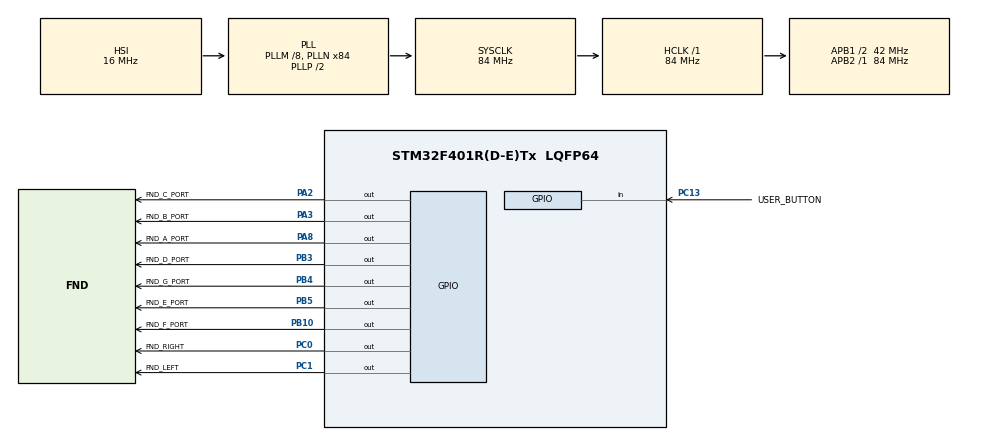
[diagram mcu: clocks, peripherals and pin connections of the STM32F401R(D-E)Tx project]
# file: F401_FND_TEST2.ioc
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Mcu.Family=STM32F4
Mcu.Name=STM32F401R(D-E)Tx
Mcu.Package=LQFP64
NVIC.PriorityGroup=NVIC_PRIORITYGROUP_4
PA13.Mode=Serial_Wire
PA13.Signal=SYS_JTMS-SWDIO
PA14.Mode=Serial_Wire
PA14.Signal=SYS_JTCK-SWCLK
PA2.GPIO_Label=FND_C_PORT
PA2.PinState=GPIO_PIN_SET
PA2.Signal=GPIO_Output
PA3.GPIO_Label=FND_B_PORT
PA3.PinState=GPIO_PIN_SET
PA3.Signal=GPIO_Output
PA8.GPIO_Label=FND_A_PORT
PA8.PinState=GPIO_PIN_SET
PA8.Signal=GPIO_Output
PB10.GPIO_Label=FND_F_PORT
PB10.PinState=GPIO_PIN_SET
PB10.Signal=GPIO_Output
PB3.GPIO_Label=FND_D_PORT
PB3.PinState=GPIO_PIN_SET
PB3.Signal=GPIO_Output
PB4.GPIO_Label=FND_G_PORT
PB4.PinState=GPIO_PIN_SET
PB4.Signal=GPIO_Output
PB5.GPIO_Label=FND_E_PORT
PB5.PinState=GPIO_PIN_SET
PB5.Signal=GPIO_Output
PC0.GPIO_Label=FND_RIGHT
PC0.Signal=GPIO_Output
PC1.GPIO_Label=FND_LEFT
PC1.Signal=GPIO_Output
PC13-ANTI_TAMP.GPIO_Label=USER_BUTTON
PC13-ANTI_TAMP.Signal=GPIO_Input
ProjectManager.HeapSize=0x200
ProjectManager.StackSize=0x400
ProjectManager.TargetToolchain=STM32CubeIDE
RCC.48MHZClocksFreq_Value=42000000
RCC.AHBFreq_Value=84000000
RCC.APB1CLKDivider=RCC_HCLK_DIV2
RCC.APB1Freq_Value=42000000
RCC.APB1TimFreq_Value=84000000
RCC.APB2Freq_Value=84000000
RCC.APB2TimFreq_Value=84000000
RCC.CortexFreq_Value=84000000
RCC.HCLKFreq_Value=84000000
RCC.HSE_VALUE=25000000
RCC.HSI_VALUE=16000000
RCC.LSE_VALUE=32768
RCC.PLLM=8
RCC.PLLN=84
RCC.SYSCLKFreq_VALUE=84000000
RCC.SYSCLKSource=RCC_SYSCLKSOURCE_PLLCLK
RCC.VCOOutputFreq_Value=168000000
board=custom

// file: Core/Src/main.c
/* USER CODE BEGIN Header */
/**
  ******************************************************************************
  * @file           : main.c
  * @brief          : Main program body
  ******************************************************************************
  * @attention
  *
  * <h2><center>&copy; Copyright (c) 2021 STMicroelectronics.
  * All rights reserved.</center></h2>
  *
  * This software component is licensed by ST under BSD 3-Clause license,
  * the "License"; You may not use this file except in compliance with the
  * License. You may obtain a copy of the License at:
  *                        opensource.org/licenses/BSD-3-Clause
  *
  ******************************************************************************
  */
/* USER CODE END Header */
#include "main.h"

void SystemClock_Config(void);
static void MX_GPIO_Init(void);

#define	FND_COM_RIGHT_CLEAR		HAL_GPIO_WritePin(GPIOC, FND_RIGHT_Pin, GPIO_PIN_RESET); \
								HAL_GPIO_WritePin(GPIOC, FND_LEFT_Pin, GPIO_PIN_SET);

#define	FND_COM_LEFT_CLEAR		HAL_GPIO_WritePin(GPIOC, FND_LEFT_Pin, GPIO_PIN_RESET); \
								HAL_GPIO_WritePin(GPIOC, FND_RIGHT_Pin, GPIO_PIN_SET);

#define FND_SEG_NUM0_DISP	  HAL_GPIO_WritePin(GPIOA, FND_C_PORT_Pin|FND_B_PORT_Pin|FND_A_PORT_Pin, GPIO_PIN_RESET); \
						      HAL_GPIO_WritePin(GPIOB, FND_F_PORT_Pin|FND_D_PORT_Pin|FND_E_PORT_Pin, GPIO_PIN_RESET); \
							  HAL_GPIO_WritePin(GPIOB, FND_G_PORT_Pin, GPIO_PIN_SET);

#define FND_SEG_NUM1_DISP	  HAL_GPIO_WritePin(GPIOA, FND_B_PORT_Pin|FND_C_PORT_Pin, GPIO_PIN_RESET); \
							  HAL_GPIO_WritePin(GPIOA, FND_A_PORT_Pin, GPIO_PIN_SET); \
							  HAL_GPIO_WritePin(GPIOB, FND_F_PORT_Pin|FND_D_PORT_Pin|FND_G_PORT_Pin|FND_E_PORT_Pin, GPIO_PIN_SET);

#define FND_SEG_NUM2_DISP	  HAL_GPIO_WritePin(GPIOA, FND_B_PORT_Pin|FND_A_PORT_Pin, GPIO_PIN_RESET); \
						      HAL_GPIO_WritePin(GPIOB, FND_D_PORT_Pin|FND_G_PORT_Pin|FND_E_PORT_Pin, GPIO_PIN_RESET); \
						      HAL_GPIO_WritePin(GPIOA, FND_C_PORT_Pin, GPIO_PIN_SET); \
						      HAL_GPIO_WritePin(GPIOB, FND_F_PORT_Pin, GPIO_PIN_SET);

#define FND_SEG_NUM3_DISP	  HAL_GPIO_WritePin(GPIOA, FND_C_PORT_Pin|FND_B_PORT_Pin|FND_A_PORT_Pin, GPIO_PIN_RESET); \
						      HAL_GPIO_WritePin(GPIOB, FND_D_PORT_Pin|FND_G_PORT_Pin, GPIO_PIN_RESET); \
						      HAL_GPIO_WritePin(GPIOB, FND_F_PORT_Pin|FND_E_PORT_Pin, GPIO_PIN_SET);

#define FND_SEG_NUM4_DISP	  HAL_GPIO_WritePin(GPIOA, FND_C_PORT_Pin|FND_B_PORT_Pin, GPIO_PIN_RESET); \
						      HAL_GPIO_WritePin(GPIOB, FND_F_PORT_Pin|FND_G_PORT_Pin, GPIO_PIN_RESET); \
						      HAL_GPIO_WritePin(GPIOA, FND_A_PORT_Pin, GPIO_PIN_SET); \
						      HAL_GPIO_WritePin(GPIOB, FND_E_PORT_Pin|FND_D_PORT_Pin, GPIO_PIN_SET);

#define FND_SEG_NUM5_DISP	  HAL_GPIO_WritePin(GPIOA, FND_C_PORT_Pin|FND_A_PORT_Pin, GPIO_PIN_RESET); \
						      HAL_GPIO_WritePin(GPIOB, FND_F_PORT_Pin|FND_D_PORT_Pin|FND_G_PORT_Pin, GPIO_PIN_RESET); \
						      HAL_GPIO_WritePin(GPIOB, FND_E_PORT_Pin, GPIO_PIN_SET); \
						      HAL_GPIO_WritePin(GPIOA, FND_B_PORT_Pin, GPIO_PIN_SET);

#define FND_SEG_NUM6_DISP	  HAL_GPIO_WritePin(GPIOA, FND_C_PORT_Pin|FND_A_PORT_Pin, GPIO_PIN_RESET); \
						      HAL_GPIO_WritePin(GPIOB, FND_F_PORT_Pin|FND_D_PORT_Pin|FND_G_PORT_Pin|FND_E_PORT_Pin, GPIO_PIN_RESET); \
						      HAL_GPIO_WritePin(GPIOA, FND_B_PORT_Pin, GPIO_PIN_SET);

#define FND_SEG_NUM7_DISP	  HAL_GPIO_WritePin(GPIOA, FND_C_PORT_Pin|FND_B_PORT_Pin|FND_A_PORT_Pin, GPIO_PIN_RESET); \
						      HAL_GPIO_WritePin(GPIOB, FND_F_PORT_Pin, GPIO_PIN_RESET); \
						      HAL_GPIO_WritePin(GPIOB, FND_D_PORT_Pin|FND_G_PORT_Pin|FND_E_PORT_Pin, GPIO_PIN_SET); \

#define FND_SEG_NUM8_DISP	  HAL_GPIO_WritePin(GPIOA, FND_C_PORT_Pin|FND_B_PORT_Pin|FND_A_PORT_Pin, GPIO_PIN_RESET); \
						      HAL_GPIO_WritePin(GPIOB, FND_F_PORT_Pin|FND_D_PORT_Pin|FND_G_PORT_Pin|FND_E_PORT_Pin, GPIO_PIN_RESET);

#define FND_SEG_NUM9_DISP	  HAL_GPIO_WritePin(GPIOA, FND_C_PORT_Pin|FND_B_PORT_Pin|FND_A_PORT_Pin, GPIO_PIN_RESET); \
						      HAL_GPIO_WritePin(GPIOB, FND_F_PORT_Pin|FND_G_PORT_Pin|FND_D_PORT_Pin, GPIO_PIN_RESET); \
						      HAL_GPIO_WritePin(GPIOB, FND_E_PORT_Pin, GPIO_PIN_SET);
/* USER CODE END 0 */

int main(void)
{
  /* USER CODE BEGIN 1 */
 unsigned char disp10 = 0;
unsigned char disp1 = 0;
unsigned char button_count = 0;
unsigned char LEFT_FND = 0;
unsigned char RIGHT_FND = 0;
unsigned char roop = 0;

  /* USER CODE END 1 */

  /* MCU Configuration--------------------------------------------------------*/

  /* Reset of all peripherals, Initializes the Flash interface and the Systick. */
  HAL_Init();

  /* Configure the system clock */
  SystemClock_Config();

  /* Initialize all configured peripherals */
  MX_GPIO_Init();

  /* Infinite loop */
  while (1)
  {

    /* USER CODE BEGIN 3 */
		  if(HAL_GPIO_ReadPin(GPIOC, GPIO_PIN_13)==0)
		  {
				  button_count++;
				  HAL_Delay(1);

				  if(button_count == 40)
				  {
					  LEFT_FND++;
					  disp10 = LEFT_FND % 10;

					  button_count = 0;
				  }
		  }

		  else if(HAL_GPIO_ReadPin(GPIOC, GPIO_PIN_13)==1)
		  {
			  if(button_count > 0 && button_count <= 3)
			  {
				  HAL_Delay(2);
				  RIGHT_FND++;
				  disp1 = RIGHT_FND % 10;
			  }

			  {
				  if(LEFT_FND == 10)
				  {
					  LEFT_FND = 0;
					  disp10 = 0;
				  }
				  else if(RIGHT_FND == 10)
				  {
					 disp10++;
					 LEFT_FND++;
					 RIGHT_FND = 0;
					 disp1 = 0;

					 if(LEFT_FND == 10)
					 {
						 LEFT_FND = 0;
						 disp10 = 0;
					 }
				  }
			  }
			button_count = 0;
		  }
	 		  for(roop = 0; roop <= 3; roop++)
	 		  {
	 				  {
	 					 FND_COM_RIGHT_CLEAR
	 					  if(disp10 == 0)
	 					  {
	 						  FND_SEG_NUM0_DISP
	 					  }

	 					  else if(disp10 == 1)
	 					  {
	 						  FND_SEG_NUM1_DISP
	 					  }

	 					  else if(disp10 == 2)
	 					  {
	 						  FND_SEG_NUM2_DISP
	 					  }

	 					  else if(disp10 == 3)
	 					  {
	 						  FND_SEG_NUM3_DISP
	 					  }

	 					  else if(disp10 == 4)
	 					  {
	 						  FND_SEG_NUM4_DISP
	 					  }

	 					  else if(disp10 == 5)
	 					  {
	 						  FND_SEG_NUM5_DISP
	 					  }

	 					  else if(disp10 == 6)
	 					  {
	 						  FND_SEG_NUM6_DISP
	 					  }

	 					  else if(disp10 == 7)
	 					  {
	 						  FND_SEG_NUM7_DISP
	 					  }

	 					  else if(disp10 == 8)
	 					  {
	 						  FND_SEG_NUM8_DISP
	 					  }

	 					  else if(disp10 == 9)
	 					  {
	 						  FND_SEG_NUM9_DISP
	 					  }
	 					  HAL_Delay(4);
	 				  }
	 				  {
	 					 FND_COM_LEFT_CLEAR
	 					  if(disp1 == 0)
	 					  {
	 						  FND_SEG_NUM0_DISP
	 					  }

	 					  else if(disp1 == 1)
	 					  {
	 						  FND_SEG_NUM1_DISP
	 					  }

	 					  else if(disp1 == 2)
	 					  {
	 						  FND_SEG_NUM2_DISP
	 					  }

	 					  else if(disp1 == 3)
	 					  {
	 						  FND_SEG_NUM3_DISP
	 					  }

	 					  else if(disp1 == 4)
	 					  {
	 						  FND_SEG_NUM4_DISP
	 					  }

	 					  else if(disp1 == 5)
	 					  {
	 						  FND_SEG_NUM5_DISP
	 					  }

	 					  else if(disp1 == 6)
	 					  {
	 						  FND_SEG_NUM6_DISP
	 					  }

	 					  else if(disp1 == 7)
	 					  {
	 						  FND_SEG_NUM7_DISP
	 					  }

	 					  else if(disp1 == 8)
	 					  {
	 						  FND_SEG_NUM8_DISP
	 					  }

	 					  else if(disp1 == 9)
	 					  {
	 						  FND_SEG_NUM9_DISP
	 					  }
	 					  HAL_Delay(4);
	 				  }
	 		  }
  }
}

  /* USER CODE END 3 */

void SystemClock_Config(void)
{
  RCC_OscInitTypeDef RCC_OscInitStruct = {0};
  RCC_ClkInitTypeDef RCC_ClkInitStruct = {0};

  /** Configure the main internal regulator output voltage
  */
  __HAL_RCC_PWR_CLK_ENABLE();
  __HAL_PWR_VOLTAGESCALING_CONFIG(PWR_REGULATOR_VOLTAGE_SCALE2);
  /** Initializes the RCC Oscillators according to the specified parameters
  * in the RCC_OscInitTypeDef structure.
  */
  RCC_OscInitStruct.OscillatorType = RCC_OSCILLATORTYPE_HSI;
  RCC_OscInitStruct.HSIState = RCC_HSI_ON;
  RCC_OscInitStruct.HSICalibrationValue = RCC_HSICALIBRATION_DEFAULT;
  RCC_OscInitStruct.PLL.PLLState = RCC_PLL_ON;
  RCC_OscInitStruct.PLL.PLLSource = RCC_PLLSOURCE_HSI;
  RCC_OscInitStruct.PLL.PLLM = 8;
  RCC_OscInitStruct.PLL.PLLN = 84;
  RCC_OscInitStruct.PLL.PLLP = RCC_PLLP_DIV2;
  RCC_OscInitStruct.PLL.PLLQ = 4;
  if (HAL_RCC_OscConfig(&RCC_OscInitStruct) != HAL_OK)
  {
    Error_Handler();
  }
  /** Initializes the CPU, AHB and APB buses clocks
  */
  RCC_ClkInitStruct.ClockType = RCC_CLOCKTYPE_HCLK|RCC_CLOCKTYPE_SYSCLK
                              |RCC_CLOCKTYPE_PCLK1|RCC_CLOCKTYPE_PCLK2;
  RCC_ClkInitStruct.SYSCLKSource = RCC_SYSCLKSOURCE_PLLCLK;
  RCC_ClkInitStruct.AHBCLKDivider = RCC_SYSCLK_DIV1;
  RCC_ClkInitStruct.APB1CLKDivider = RCC_HCLK_DIV2;
  RCC_ClkInitStruct.APB2CLKDivider = RCC_HCLK_DIV1;

  if (HAL_RCC_ClockConfig(&RCC_ClkInitStruct, FLASH_LATENCY_2) != HAL_OK)
  {
    Error_Handler();
  }
}

static void MX_GPIO_Init(void)
{
  GPIO_InitTypeDef GPIO_InitStruct = {0};

  /* GPIO Ports Clock Enable */
  __HAL_RCC_GPIOC_CLK_ENABLE();
  __HAL_RCC_GPIOA_CLK_ENABLE();
  __HAL_RCC_GPIOB_CLK_ENABLE();

  /*Configure GPIO pin Output Level */
  HAL_GPIO_WritePin(GPIOC, FND_RIGHT_Pin|FND_LEFT_Pin, GPIO_PIN_RESET);

  /*Configure GPIO pin Output Level */
  HAL_GPIO_WritePin(GPIOA, FND_C_PORT_Pin|FND_B_PORT_Pin|FND_A_PORT_Pin, GPIO_PIN_SET);

  /*Configure GPIO pin Output Level */
  HAL_GPIO_WritePin(GPIOB, FND_F_PORT_Pin|FND_D_PORT_Pin|FND_G_PORT_Pin|FND_E_PORT_Pin, GPIO_PIN_SET);

  /*Configure GPIO pin : USER_BUTTON_Pin */
  GPIO_InitStruct.Pin = USER_BUTTON_Pin;
  GPIO_InitStruct.Mode = GPIO_MODE_INPUT;
  GPIO_InitStruct.Pull = GPIO_NOPULL;
  HAL_GPIO_Init(USER_BUTTON_GPIO_Port, &GPIO_InitStruct);

  /*Configure GPIO pins : FND_RIGHT_Pin FND_LEFT_Pin */
  GPIO_InitStruct.Pin = FND_RIGHT_Pin|FND_LEFT_Pin;
  GPIO_InitStruct.Mode = GPIO_MODE_OUTPUT_PP;
  GPIO_InitStruct.Pull = GPIO_NOPULL;
  GPIO_InitStruct.Speed = GPIO_SPEED_FREQ_LOW;
  HAL_GPIO_Init(GPIOC, &GPIO_InitStruct);

  /*Configure GPIO pins : FND_C_PORT_Pin FND_B_PORT_Pin FND_A_PORT_Pin */
  GPIO_InitStruct.Pin = FND_C_PORT_Pin|FND_B_PORT_Pin|FND_A_PORT_Pin;
  GPIO_InitStruct.Mode = GPIO_MODE_OUTPUT_PP;
  GPIO_InitStruct.Pull = GPIO_NOPULL;
  GPIO_InitStruct.Speed = GPIO_SPEED_FREQ_LOW;
  HAL_GPIO_Init(GPIOA, &GPIO_InitStruct);

  /*Configure GPIO pins : FND_F_PORT_Pin FND_D_PORT_Pin FND_G_PORT_Pin FND_E_PORT_Pin */
  GPIO_InitStruct.Pin = FND_F_PORT_Pin|FND_D_PORT_Pin|FND_G_PORT_Pin|FND_E_PORT_Pin;
  GPIO_InitStruct.Mode = GPIO_MODE_OUTPUT_PP;
  GPIO_InitStruct.Pull = GPIO_NOPULL;
  GPIO_InitStruct.Speed = GPIO_SPEED_FREQ_LOW;
  HAL_GPIO_Init(GPIOB, &GPIO_InitStruct);

}

void Error_Handler(void)
{
  __disable_irq();
  while (1)
  {
  }
}

/************************ (C) COPYRIGHT STMicroelectronics *****END OF FILE****/
